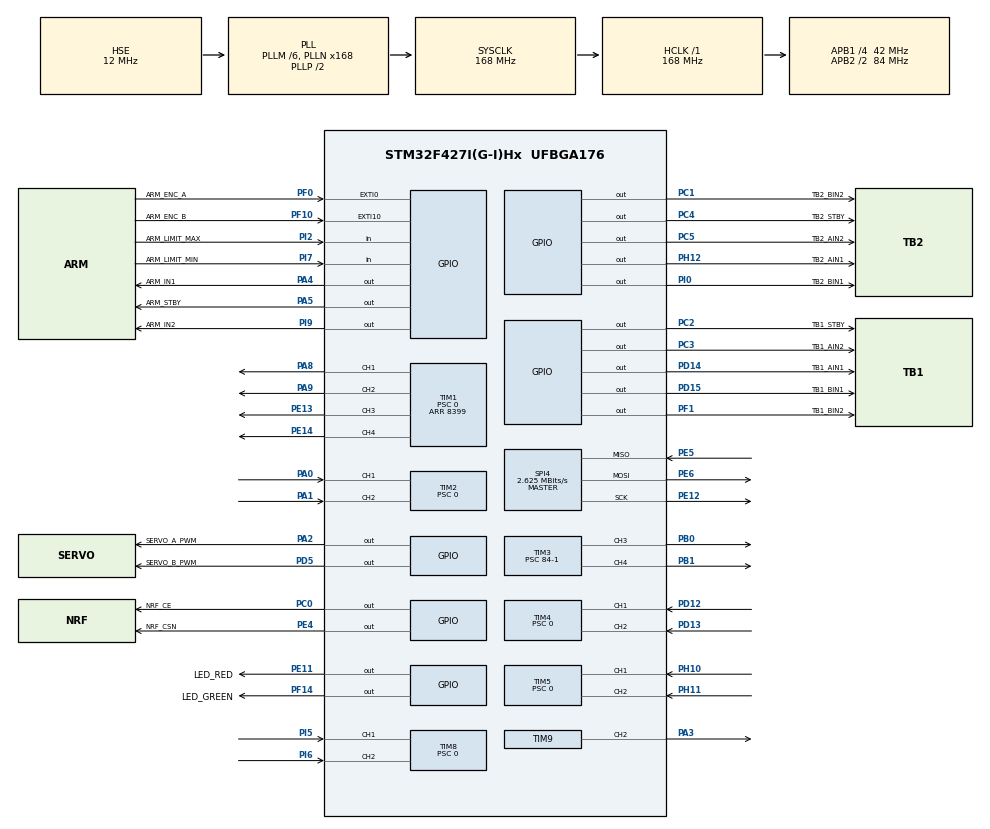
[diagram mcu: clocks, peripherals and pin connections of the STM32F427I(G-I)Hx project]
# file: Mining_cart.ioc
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FREERTOS.HEAP_NUMBER=4
FREERTOS.INCLUDE_eTaskGetState=0
FREERTOS.INCLUDE_pcTaskGetTaskName=0
FREERTOS.INCLUDE_uxTaskGetStackHighWaterMark=0
FREERTOS.INCLUDE_uxTaskGetStackHighWaterMark2=0
FREERTOS.INCLUDE_uxTaskPriorityGet=1
FREERTOS.INCLUDE_vTaskCleanUpResources=0
FREERTOS.INCLUDE_vTaskDelay=1
FREERTOS.INCLUDE_vTaskDelayUntil=1
FREERTOS.INCLUDE_vTaskDelete=1
FREERTOS.INCLUDE_vTaskPrioritySet=1
FREERTOS.INCLUDE_vTaskSuspend=1
FREERTOS.INCLUDE_xEventGroupSetBitFromISR=0
FREERTOS.INCLUDE_xQueueGetMutexHolder=0
FREERTOS.INCLUDE_xSemaphoreGetMutexHolder=0
FREERTOS.INCLUDE_xTaskAbortDelay=0
FREERTOS.INCLUDE_xTaskGetCurrentTaskHandle=0
FREERTOS.INCLUDE_xTaskGetHandle=0
FREERTOS.INCLUDE_xTaskResumeFromISR=1
FREERTOS.MEMORY_ALLOCATION=2
FREERTOS.Tasks01=StatusTask,0,256,StartStatusTask,Default,NULL,Dynamic,NULL,NULL;MotorTask,2,256,StartMotorTask,Default,NULL,Dynamic,NULL,NULL;ServoTask,0,256,StartServoTask,Default,NULL,Dynamic,NULL,NULL;ArmTask,1,512,StartArmTask,Default,NULL,Dynamic,NULL,NULL
FREERTOS.configCHECK_FOR_STACK_OVERFLOW=0
FREERTOS.configENABLE_BACKWARD_COMPATIBILITY=1
FREERTOS.configENABLE_FPU=0
FREERTOS.configGENERATE_RUN_TIME_STATS=0
FREERTOS.configIDLE_SHOULD_YIELD=1
FREERTOS.configLIBRARY_LOWEST_INTERRUPT_PRIORITY=15
FREERTOS.configLIBRARY_MAX_SYSCALL_INTERRUPT_PRIORITY=5
FREERTOS.configMAX_CO_ROUTINE_PRIORITIES=2
FREERTOS.configMAX_PRIORITIES=7
FREERTOS.configMAX_TASK_NAME_LEN=16
FREERTOS.configMINIMAL_STACK_SIZE=128
FREERTOS.configQUEUE_REGISTRY_SIZE=8
FREERTOS.configRECORD_STACK_HIGH_ADDRESS=0
FREERTOS.configTICK_RATE_HZ=1000
FREERTOS.configTOTAL_HEAP_SIZE=15360
FREERTOS.configUSE_APPLICATION_TASK_TAG=0
FREERTOS.configUSE_COUNTING_SEMAPHORES=0
FREERTOS.configUSE_CO_ROUTINES=0
FREERTOS.configUSE_DAEMON_TASK_STARTUP_HOOK=0
FREERTOS.configUSE_IDLE_HOOK=0
FREERTOS.configUSE_MALLOC_FAILED_HOOK=0
FREERTOS.configUSE_MUTEXES=1
FREERTOS.configUSE_NEWLIB_REENTRANT=0
FREERTOS.configUSE_POSIX_ERRNO=0
FREERTOS.configUSE_PREEMPTION=1
FREERTOS.configUSE_RECURSIVE_MUTEXES=0
FREERTOS.configUSE_STATS_FORMATTING_FUNCTIONS=0
FREERTOS.configUSE_TASK_NOTIFICATIONS=1
FREERTOS.configUSE_TICKLESS_IDLE=0
FREERTOS.configUSE_TICK_HOOK=0
FREERTOS.configUSE_TIMERS=0
FREERTOS.configUSE_TRACE_FACILITY=0
FREERTOS.copyHeapFile=1
Mcu.Family=STM32F4
Mcu.Name=STM32F427I(G-I)Hx
Mcu.Package=UFBGA176
NVIC.EXTI0_IRQn=true\:6\:0\:true\:false\:true\:true\:true\:true
NVIC.EXTI15_10_IRQn=true\:6\:0\:true\:false\:true\:true\:true\:true
NVIC.PriorityGroup=NVIC_PRIORITYGROUP_4
NVIC.TIM6_DAC_IRQn=true\:15\:0\:false\:false\:true\:false\:true\:true
NVIC.TIM7_IRQn=true\:0\:0\:false\:false\:true\:true\:true\:true
NVIC.TimeBase=TIM6_DAC_IRQn
NVIC.TimeBaseIP=TIM6
PA0/WKUP.Signal=S_TIM2_CH1_ETR
PA1.Signal=S_TIM2_CH2
PA13.Mode=Serial_Wire
PA13.Signal=SYS_JTMS-SWDIO
PA14.Mode=Serial_Wire
PA14.Signal=SYS_JTCK-SWCLK
PA2.GPIO_Label=SERVO_A_PWM
PA2.Signal=GPIO_Output
PA3.Signal=S_TIM9_CH2
PA4.GPIO_Label=ARM_IN1
PA4.Signal=GPIO_Output
PA5.GPIO_Label=ARM_STBY
PA5.GPIO_PuPd=GPIO_PULLDOWN
PA5.Signal=GPIO_Output
PA8.Signal=S_TIM1_CH1
PA9.Signal=S_TIM1_CH2
PB0.Signal=S_TIM3_CH3
PB1.Signal=S_TIM3_CH4
PC0.GPIO_Label=NRF_CE
PC0.GPIO_PuPd=GPIO_PULLDOWN
PC0.PinState=GPIO_PIN_RESET
PC0.Signal=GPIO_Output
PC1.GPIO_Label=TB2_BIN2
PC1.Signal=GPIO_Output
PC2.GPIO_Label=TB1_STBY
PC2.GPIO_PuPd=GPIO_PULLDOWN
PC2.Signal=GPIO_Output
PC3.GPIO_Label=TB1_AIN2
PC3.Signal=GPIO_Output
PC4.GPIO_Label=TB2_STBY
PC4.GPIO_PuPd=GPIO_PULLDOWN
PC4.Signal=GPIO_Output
PC5.GPIO_Label=TB2_AIN2
PC5.Signal=GPIO_Output
PD12.Signal=S_TIM4_CH1
PD13.Signal=S_TIM4_CH2
PD14.GPIO_Label=TB1_AIN1
PD14.Signal=GPIO_Output
PD15.GPIO_Label=TB1_BIN1
PD15.Signal=GPIO_Output
PD5.GPIO_Label=SERVO_B_PWM
PD5.Signal=GPIO_Output
PE11.GPIO_Label=LED_RED
PE11.PinState=GPIO_PIN_SET
PE11.Signal=GPIO_Output
PE12.Mode=Full_Duplex_Master
PE12.Signal=SPI4_SCK
PE13.Signal=S_TIM1_CH3
PE14.Signal=S_TIM1_CH4
PE4.GPIO_Label=NRF_CSN
PE4.GPIO_PuPd=GPIO_PULLUP
PE4.PinState=GPIO_PIN_SET
PE4.Signal=GPIO_Output
PE5.Mode=Full_Duplex_Master
PE5.Signal=SPI4_MISO
PE6.Mode=Full_Duplex_Master
PE6.Signal=SPI4_MOSI
PF0.GPIO_Label=ARM_ENC_A
PF0.GPIO_ModeDefaultEXTI=GPIO_MODE_IT_RISING_FALLING
PF0.GPIO_PuPd=GPIO_PULLUP
PF0.Signal=GPXTI0
PF1.GPIO_Label=TB1_BIN2
PF1.Signal=GPIO_Output
PF10.GPIO_Label=ARM_ENC_B
PF10.GPIO_ModeDefaultEXTI=GPIO_MODE_IT_RISING_FALLING
PF10.GPIO_PuPd=GPIO_PULLUP
PF10.Signal=GPXTI10
PF14.GPIO_Label=LED_GREEN
PF14.PinState=GPIO_PIN_SET
PF14.Signal=GPIO_Output
PH0/OSC_IN.Mode=HSE-External-Oscillator
PH0/OSC_IN.Signal=RCC_OSC_IN
PH1/OSC_OUT.Mode=HSE-External-Oscillator
PH1/OSC_OUT.Signal=RCC_OSC_OUT
PH10.Signal=S_TIM5_CH1
PH11.Signal=S_TIM5_CH2
PH12.GPIO_Label=TB2_AIN1
PH12.Signal=GPIO_Output
PI0.GPIO_Label=TB2_BIN1
PI0.Signal=GPIO_Output
PI2.GPIO_Label=ARM_LIMIT_MAX
PI2.GPIO_PuPd=GPIO_PULLUP
PI2.Signal=GPIO_Input
PI5.Signal=S_TIM8_CH1
PI6.Signal=S_TIM8_CH2
PI7.GPIO_Label=ARM_LIMIT_MIN
PI7.GPIO_PuPd=GPIO_PULLUP
PI7.Signal=GPIO_Input
PI9.GPIO_Label=ARM_IN2
PI9.Signal=GPIO_Output
ProjectManager.HeapSize=0x200
ProjectManager.StackSize=0x400
ProjectManager.TargetToolchain=CMake
RCC.48MHZClocksFreq_Value=84000000
RCC.AHBFreq_Value=168000000
RCC.APB1CLKDivider=RCC_HCLK_DIV4
RCC.APB1Freq_Value=42000000
RCC.APB1TimFreq_Value=84000000
RCC.APB2CLKDivider=RCC_HCLK_DIV2
RCC.APB2Freq_Value=84000000
RCC.APB2TimFreq_Value=168000000
RCC.CortexFreq_Value=168000000
RCC.FLatency=FLASH_LATENCY_5
RCC.HCLKFreq_Value=168000000
RCC.HSE_VALUE=12000000
RCC.HSI_VALUE=16000000
RCC.LSE_VALUE=32768
RCC.PLLM=6
RCC.PLLN=168
RCC.PLLSourceVirtual=RCC_PLLSOURCE_HSE
RCC.PWR_Regulator_Voltage_Scale=PWR_REGULATOR_VOLTAGE_SCALE1
RCC.SYSCLKFreq_VALUE=168000000
RCC.SYSCLKSource=RCC_SYSCLKSOURCE_PLLCLK
RCC.VCOOutputFreq_Value=336000000
SH.S_TIM1_CH1.0=TIM1_CH1,PWM Generation1 CH1
SH.S_TIM1_CH2.0=TIM1_CH2,PWM Generation2 CH2
SH.S_TIM1_CH3.0=TIM1_CH3,PWM Generation3 CH3
SH.S_TIM1_CH4.0=TIM1_CH4,PWM Generation4 CH4
SH.S_TIM2_CH1_ETR.0=TIM2_CH1,Encoder_Interface
SH.S_TIM2_CH2.0=TIM2_CH2,Encoder_Interface
SH.S_TIM3_CH3.0=TIM3_CH3,PWM Generation3 CH3
SH.S_TIM3_CH4.0=TIM3_CH4,PWM Generation4 CH4
SH.S_TIM4_CH1.0=TIM4_CH1,Encoder_Interface
SH.S_TIM4_CH2.0=TIM4_CH2,Encoder_Interface
SH.S_TIM5_CH1.0=TIM5_CH1,Encoder_Interface
SH.S_TIM5_CH2.0=TIM5_CH2,Encoder_Interface
SH.S_TIM8_CH1.0=TIM8_CH1,Encoder_Interface
SH.S_TIM8_CH2.0=TIM8_CH2,Encoder_Interface
SH.S_TIM9_CH2.0=TIM9_CH2,PWM Generation2 CH2
SPI4.BaudRatePrescaler=SPI_BAUDRATEPRESCALER_32
SPI4.CalculateBaudRate=2.625 MBits/s
SPI4.Direction=SPI_DIRECTION_2LINES
SPI4.Mode=SPI_MODE_MASTER
SPI4.VirtualType=VM_MASTER
TIM1.AutoReloadPreload=TIM_AUTORELOAD_PRELOAD_DISABLE
TIM1.AutomaticOutput=TIM_AUTOMATICOUTPUT_DISABLE
TIM1.BreakPolarity=TIM_BREAKPOLARITY_HIGH
TIM1.BreakState=TIM_BREAK_DISABLE
TIM1.Channel-PWM\ Generation1\ CH1=TIM_CHANNEL_1
TIM1.Channel-PWM\ Generation2\ CH2=TIM_CHANNEL_2
TIM1.Channel-PWM\ Generation3\ CH3=TIM_CHANNEL_3
TIM1.Channel-PWM\ Generation4\ CH4=TIM_CHANNEL_4
TIM1.ClockDivision=TIM_CLOCKDIVISION_DIV1
TIM1.CounterMode=TIM_COUNTERMODE_UP
TIM1.LockLevel=TIM_LOCKLEVEL_OFF
TIM1.OC1Preload_PWM=ENABLE
TIM1.OC2Preload_PWM=ENABLE
TIM1.OC3Preload_PWM=ENABLE
TIM1.OC4Preload_PWM=ENABLE
TIM1.OCFastMode_PWM-PWM\ Generation1\ CH1=TIM_OCFAST_DISABLE
TIM1.OCFastMode_PWM-PWM\ Generation2\ CH2=TIM_OCFAST_DISABLE
TIM1.OCFastMode_PWM-PWM\ Generation3\ CH3=TIM_OCFAST_DISABLE
TIM1.OCFastMode_PWM-PWM\ Generation4\ CH4=TIM_OCFAST_DISABLE
TIM1.OCIdleState_1=TIM_OCIDLESTATE_RESET
TIM1.OCIdleState_2=TIM_OCIDLESTATE_RESET
TIM1.OCIdleState_3=TIM_OCIDLESTATE_RESET
TIM1.OCIdleState_4=TIM_OCIDLESTATE_RESET
TIM1.OCMode_PWM-PWM\ Generation1\ CH1=TIM_OCMODE_PWM1
TIM1.OCMode_PWM-PWM\ Generation2\ CH2=TIM_OCMODE_PWM1
TIM1.OCMode_PWM-PWM\ Generation3\ CH3=TIM_OCMODE_PWM1
TIM1.OCMode_PWM-PWM\ Generation4\ CH4=TIM_OCMODE_PWM1
TIM1.OCPolarity_1=TIM_OCPOLARITY_HIGH
TIM1.OCPolarity_2=TIM_OCPOLARITY_HIGH
TIM1.OCPolarity_3=TIM_OCPOLARITY_HIGH
TIM1.OCPolarity_4=TIM_OCPOLARITY_HIGH
TIM1.OffStateIDLEMode=TIM_OSSI_DISABLE
TIM1.OffStateRunMode=TIM_OSSR_DISABLE
TIM1.Period=8399
TIM1.Prescaler=0
TIM1.Pulse-PWM\ Generation1\ CH1=0
TIM1.Pulse-PWM\ Generation2\ CH2=0
TIM1.Pulse-PWM\ Generation3\ CH3=0
TIM1.Pulse-PWM\ Generation4\ CH4=0
TIM1.RepetitionCounter=0
TIM1.TIM_MasterOutputTrigger=TIM_TRGO_RESET
TIM1.TIM_MasterSlaveMode=TIM_MASTERSLAVEMODE_DISABLE
TIM2.AutoReloadPreload=TIM_AUTORELOAD_PRELOAD_DISABLE
TIM2.ClockDivision=TIM_CLOCKDIVISION_DIV1
TIM2.CounterMode=TIM_COUNTERMODE_UP
TIM2.EncoderMode=TIM_ENCODERMODE_TI12
TIM2.IC1Filter=4
TIM2.IC1Polarity=TIM_ICPOLARITY_RISING
TIM2.IC1Prescaler=TIM_ICPSC_DIV1
TIM2.IC1Selection=TIM_ICSELECTION_DIRECTTI
TIM2.IC2Filter=4
TIM2.IC2Polarity=TIM_ICPOLARITY_RISING
TIM2.IC2Prescaler=TIM_ICPSC_DIV1
TIM2.IC2Selection=TIM_ICSELECTION_DIRECTTI
TIM2.Period=65535
TIM2.Prescaler=0
TIM2.TIM_MasterOutputTrigger=TIM_TRGO_RESET
TIM2.TIM_MasterSlaveMode=TIM_MASTERSLAVEMODE_DISABLE
TIM3.AutoReloadPreload=TIM_AUTORELOAD_PRELOAD_ENABLE
TIM3.Channel-PWM\ Generation3\ CH3=TIM_CHANNEL_3
TIM3.Channel-PWM\ Generation4\ CH4=TIM_CHANNEL_4
TIM3.ClockDivision=TIM_CLOCKDIVISION_DIV1
TIM3.CounterMode=TIM_COUNTERMODE_UP
TIM3.OC3Preload_PWM=ENABLE
TIM3.OC4Preload_PWM=ENABLE
TIM3.OCFastMode_PWM-PWM\ Generation3\ CH3=TIM_OCFAST_DISABLE
TIM3.OCFastMode_PWM-PWM\ Generation4\ CH4=TIM_OCFAST_DISABLE
TIM3.OCMode_PWM-PWM\ Generation3\ CH3=TIM_OCMODE_PWM1
TIM3.OCMode_PWM-PWM\ Generation4\ CH4=TIM_OCMODE_PWM1
TIM3.OCPolarity_3=TIM_OCPOLARITY_HIGH
TIM3.OCPolarity_4=TIM_OCPOLARITY_HIGH
TIM3.Period=20000-1
TIM3.Prescaler=84-1
TIM3.Pulse-PWM\ Generation3\ CH3=0
TIM3.Pulse-PWM\ Generation4\ CH4=0
TIM3.TIM_MasterOutputTrigger=TIM_TRGO_RESET
TIM3.TIM_MasterSlaveMode=TIM_MASTERSLAVEMODE_DISABLE
TIM4.AutoReloadPreload=TIM_AUTORELOAD_PRELOAD_DISABLE
TIM4.ClockDivision=TIM_CLOCKDIVISION_DIV1
TIM4.CounterMode=TIM_COUNTERMODE_UP
TIM4.EncoderMode=TIM_ENCODERMODE_TI12
TIM4.IC1Filter=4
TIM4.IC1Polarity=TIM_ICPOLARITY_RISING
TIM4.IC1Prescaler=TIM_ICPSC_DIV1
TIM4.IC1Selection=TIM_ICSELECTION_DIRECTTI
TIM4.IC2Filter=4
TIM4.IC2Polarity=TIM_ICPOLARITY_RISING
TIM4.IC2Prescaler=TIM_ICPSC_DIV1
TIM4.IC2Selection=TIM_ICSELECTION_DIRECTTI
TIM4.Period=65535
TIM4.Prescaler=0
TIM4.TIM_MasterOutputTrigger=TIM_TRGO_RESET
TIM4.TIM_MasterSlaveMode=TIM_MASTERSLAVEMODE_DISABLE
TIM5.AutoReloadPreload=TIM_AUTORELOAD_PRELOAD_DISABLE
TIM5.ClockDivision=TIM_CLOCKDIVISION_DIV1
TIM5.CounterMode=TIM_COUNTERMODE_UP
TIM5.EncoderMode=TIM_ENCODERMODE_TI12
TIM5.IC1Filter=4
TIM5.IC1Polarity=TIM_ICPOLARITY_RISING
TIM5.IC1Prescaler=TIM_ICPSC_DIV1
TIM5.IC1Selection=TIM_ICSELECTION_DIRECTTI
TIM5.IC2Filter=4
TIM5.IC2Polarity=TIM_ICPOLARITY_RISING
TIM5.IC2Prescaler=TIM_ICPSC_DIV1
TIM5.IC2Selection=TIM_ICSELECTION_DIRECTTI
TIM5.Period=65535
TIM5.Prescaler=0
TIM5.TIM_MasterOutputTrigger=TIM_TRGO_RESET
TIM5.TIM_MasterSlaveMode=TIM_MASTERSLAVEMODE_DISABLE
TIM7.Period=20000-1
TIM7.Prescaler=84-1
TIM8.AutoReloadPreload=TIM_AUTORELOAD_PRELOAD_DISABLE
TIM8.ClockDivision=TIM_CLOCKDIVISION_DIV1
TIM8.CounterMode=TIM_COUNTERMODE_UP
TIM8.EncoderMode=TIM_ENCODERMODE_TI12
TIM8.IC1Filter=4
TIM8.IC1Polarity=TIM_ICPOLARITY_RISING
TIM8.IC1Prescaler=TIM_ICPSC_DIV1
TIM8.IC1Selection=TIM_ICSELECTION_DIRECTTI
TIM8.IC2Filter=4
TIM8.IC2Polarity=TIM_ICPOLARITY_RISING
TIM8.IC2Prescaler=TIM_ICPSC_DIV1
TIM8.IC2Selection=TIM_ICSELECTION_DIRECTTI
TIM8.Period=65535
TIM8.Prescaler=0
TIM8.RepetitionCounter=0
TIM8.TIM_MasterOutputTrigger=TIM_TRGO_RESET
TIM8.TIM_MasterSlaveMode=TIM_MASTERSLAVEMODE_DISABLE
TIM9.AutoReloadPreload=TIM_AUTORELOAD_PRELOAD_DISABLE
TIM9.Channel-PWM\ Generation2\ CH2=TIM_CHANNEL_2
TIM9.ClockDivision=TIM_CLOCKDIVISION_DIV1
TIM9.CounterMode=TIM_COUNTERMODE_UP
TIM9.OC2Preload_PWM=ENABLE
TIM9.OCFastMode_PWM-PWM\ Generation2\ CH2=TIM_OCFAST_DISABLE
TIM9.OCMode_PWM-PWM\ Generation2\ CH2=TIM_OCMODE_PWM1
TIM9.OCPolarity_2=TIM_OCPOLARITY_HIGH
TIM9.Period=8400-1
TIM9.Prescaler=0
TIM9.Pulse-PWM\ Generation2\ CH2=0
VP_FREERTOS_VS_CMSIS_V1.Mode=CMSIS_V1
VP_SYS_VS_tim6.Mode=TIM6
VP_TIM1_VS_ClockSourceINT.Mode=Internal
VP_TIM3_VS_ClockSourceINT.Mode=Internal
VP_TIM7_VS_ClockSourceINT.Mode=Enable_Timer
board=custom

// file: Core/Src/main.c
/* USER CODE BEGIN Header */
/**
  ******************************************************************************
  * @file           : main.c
  * @brief          : Main program body
  ******************************************************************************
  * @attention
  *
  * Copyright (c) 2026 STMicroelectronics.
  * All rights reserved.
  *
  * This software is licensed under terms that can be found in the LICENSE file
  * in the root directory of this software component.
  * If no LICENSE file comes with this software, it is provided AS-IS.
  *
  ******************************************************************************
  */
/* USER CODE END Header */
#include "main.h"
#include "cmsis_os.h"
#include "spi.h"
#include "tim.h"
#include "gpio.h"

/* USER CODE BEGIN Includes */
#include "SEGGER_RTT.h"
#include "nrf24.h"
#include "arm_control.h"
#include "servo_soft_pwm.h"
/* USER CODE END Includes */

void SystemClock_Config(void);
void MX_FREERTOS_Init(void);

int main(void)
{

  /* MCU Configuration--------------------------------------------------------*/

  /* Reset of all peripherals, Initializes the Flash interface and the Systick. */
  HAL_Init();

  /* Configure the system clock */
  SystemClock_Config();

  /* Initialize all configured peripherals */
  MX_GPIO_Init();
  MX_TIM1_Init();
  MX_TIM2_Init();
  MX_TIM3_Init();
  MX_TIM9_Init();
  MX_TIM4_Init();
  MX_TIM5_Init();
  MX_TIM8_Init();
  MX_SPI4_Init();
  MX_TIM7_Init();
  /* USER CODE BEGIN 2 */
  SEGGER_RTT_Init();
  SEGGER_RTT_SetFlagsUpBuffer(0, SEGGER_RTT_MODE_NO_BLOCK_SKIP);
  SEGGER_RTT_WriteString(0, "Mining_cart boot OK\r\n");
  HAL_StatusTypeDef nrf_status = NRF24_Init();
  SEGGER_RTT_printf(0, "NRF probe=%u present=%u\r\n",
                 (unsigned)nrf_status,
                 (unsigned)g_nrf24_debug.present);
  /* USER CODE END 2 */

  /* Call init function for freertos objects (in cmsis_os2.c) */
  MX_FREERTOS_Init();

  /* Start scheduler */
  osKernelStart();

  /* We should never get here as control is now taken by the scheduler */

  /* Infinite loop */
  while (1)
  {

  }
}

void SystemClock_Config(void)
{
  RCC_OscInitTypeDef RCC_OscInitStruct = {0};
  RCC_ClkInitTypeDef RCC_ClkInitStruct = {0};

  /** Configure the main internal regulator output voltage
  */
  __HAL_RCC_PWR_CLK_ENABLE();
  __HAL_PWR_VOLTAGESCALING_CONFIG(PWR_REGULATOR_VOLTAGE_SCALE1);

  /** Initializes the RCC Oscillators according to the specified parameters
  * in the RCC_OscInitTypeDef structure.
  */
  RCC_OscInitStruct.OscillatorType = RCC_OSCILLATORTYPE_HSE;
  RCC_OscInitStruct.HSEState = RCC_HSE_ON;
  RCC_OscInitStruct.PLL.PLLState = RCC_PLL_ON;
  RCC_OscInitStruct.PLL.PLLSource = RCC_PLLSOURCE_HSE;
  RCC_OscInitStruct.PLL.PLLM = 6;
  RCC_OscInitStruct.PLL.PLLN = 168;
  RCC_OscInitStruct.PLL.PLLP = RCC_PLLP_DIV2;
  RCC_OscInitStruct.PLL.PLLQ = 4;
  if (HAL_RCC_OscConfig(&RCC_OscInitStruct) != HAL_OK)
  {
    Error_Handler();
  }

  /** Initializes the CPU, AHB and APB buses clocks
  */
  RCC_ClkInitStruct.ClockType = RCC_CLOCKTYPE_HCLK|RCC_CLOCKTYPE_SYSCLK
                              |RCC_CLOCKTYPE_PCLK1|RCC_CLOCKTYPE_PCLK2;
  RCC_ClkInitStruct.SYSCLKSource = RCC_SYSCLKSOURCE_PLLCLK;
  RCC_ClkInitStruct.AHBCLKDivider = RCC_SYSCLK_DIV1;
  RCC_ClkInitStruct.APB1CLKDivider = RCC_HCLK_DIV4;
  RCC_ClkInitStruct.APB2CLKDivider = RCC_HCLK_DIV2;

  if (HAL_RCC_ClockConfig(&RCC_ClkInitStruct, FLASH_LATENCY_5) != HAL_OK)
  {
    Error_Handler();
  }
}

/* USER CODE BEGIN 4 */
void HAL_GPIO_EXTI_Callback(uint16_t GPIO_Pin)
{
  if (GPIO_Pin == ARM_ENC_A_Pin || GPIO_Pin == ARM_ENC_B_Pin) {
    Arm_EncoderIRQ();
  }
}
/* USER CODE END 4 */

void HAL_TIM_PeriodElapsedCallback(TIM_HandleTypeDef *htim)
{
  if (htim->Instance == TIM6)
  {
    HAL_IncTick();
  }
  /* USER CODE BEGIN Callback 1 */
    if (htim->Instance == TIM7)
    {
      ServoSoftPwm_OnTimerElapsed();
    }
  /* USER CODE END Callback 1 */
}

void Error_Handler(void)
{
  __disable_irq();
  while (1)
  {
  }
}

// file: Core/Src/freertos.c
/* USER CODE BEGIN Header */
/**
  ******************************************************************************
  * File Name          : freertos.c
  * Description        : Code for freertos applications
  ******************************************************************************
  * @attention
  *
  * Copyright (c) 2026 STMicroelectronics.
  * All rights reserved.
  *
  * This software is licensed under terms that can be found in the LICENSE file
  * in the root directory of this software component.
  * If no LICENSE file comes with this software, it is provided AS-IS.
  *
  ******************************************************************************
  */
/* USER CODE END Header */

#include "FreeRTOS.h"
#include "task.h"
#include "main.h"
#include "cmsis_os.h"

/* USER CODE BEGIN Includes */
#include "SEGGER_RTT.h"
#include "motor_control.h"
#include "servo.h"
#include "arm_control.h"
#include "wireless.h"
/* USER CODE END Includes */

osThreadId StatusTaskHandle;
osThreadId MotorTaskHandle;
osThreadId ServoTaskHandle;
osThreadId ArmTaskHandle;

/* USER CODE BEGIN FunctionPrototypes */
static void StartWirelessTask(void const *argument);

/* USER CODE END FunctionPrototypes */

void StartStatusTask(void const * argument);
void StartMotorTask(void const * argument);
void StartServoTask(void const * argument);
void StartArmTask(void const * argument);

void MX_FREERTOS_Init(void); /* (MISRA C 2004 rule 8.1) */

/* GetIdleTaskMemory prototype (linked to static allocation support) */
void vApplicationGetIdleTaskMemory( StaticTask_t **ppxIdleTaskTCBBuffer, StackType_t **ppxIdleTaskStackBuffer, uint32_t *pulIdleTaskStackSize );

/* USER CODE BEGIN GET_IDLE_TASK_MEMORY */
static StaticTask_t xIdleTaskTCBBuffer;
static StackType_t xIdleStack[configMINIMAL_STACK_SIZE];

void vApplicationGetIdleTaskMemory( StaticTask_t **ppxIdleTaskTCBBuffer, StackType_t **ppxIdleTaskStackBuffer, uint32_t *pulIdleTaskStackSize )
{
  *ppxIdleTaskTCBBuffer = &xIdleTaskTCBBuffer;
  *ppxIdleTaskStackBuffer = &xIdleStack[0];
  *pulIdleTaskStackSize = configMINIMAL_STACK_SIZE;
  /* place for user code */
}
/* USER CODE END GET_IDLE_TASK_MEMORY */

void MX_FREERTOS_Init(void) {

  /* Create the thread(s) */
  /* definition and creation of StatusTask */
  osThreadDef(StatusTask, StartStatusTask, osPriorityNormal, 0, 256);
  StatusTaskHandle = osThreadCreate(osThread(StatusTask), NULL);

  /* definition and creation of MotorTask */
  osThreadDef(MotorTask, StartMotorTask, osPriorityHigh, 0, 512);
  MotorTaskHandle = osThreadCreate(osThread(MotorTask), NULL);

  /* definition and creation of ServoTask */
  osThreadDef(ServoTask, StartServoTask, osPriorityNormal, 0, 256);
  ServoTaskHandle = osThreadCreate(osThread(ServoTask), NULL);

  /* definition and creation of ArmTask */
  osThreadDef(ArmTask, StartArmTask, osPriorityAboveNormal, 0, 512);
  ArmTaskHandle = osThreadCreate(osThread(ArmTask), NULL);

  /* USER CODE BEGIN RTOS_THREADS */
  osThreadDef(WirelessTask, StartWirelessTask, osPriorityAboveNormal, 0, 512);
  if (osThreadCreate(osThread(WirelessTask), NULL) == NULL) Error_Handler();
  /* add threads, ... */
  /* USER CODE END RTOS_THREADS */

}

void StartStatusTask(void const * argument)
{
  /* USER CODE BEGIN StartStatusTask */
  /* Infinite loop */
  (void)argument;
  uint32_t loop_count = 0;

  for (;;) {
    HAL_GPIO_WritePin(LED_RED_GPIO_Port, LED_RED_Pin, GPIO_PIN_SET);
    HAL_GPIO_WritePin(LED_GREEN_GPIO_Port, LED_GREEN_Pin, GPIO_PIN_RESET);
    osDelay(500);

    HAL_GPIO_WritePin(LED_GREEN_GPIO_Port, LED_GREEN_Pin, GPIO_PIN_SET);
    HAL_GPIO_WritePin(LED_RED_GPIO_Port, LED_RED_Pin, GPIO_PIN_RESET);
    osDelay(500);

    loop_count++;
    SEGGER_RTT_printf(0, "alive=%u tick=%u ms\r\n",
                      (unsigned)loop_count, (unsigned)HAL_GetTick());
  }
  /* USER CODE END StartStatusTask */
}

void StartMotorTask(void const * argument)
{
  /* USER CODE BEGIN StartMotorTask */
  /* Infinite loop */
  (void)argument;
  MotorControl_Task();
  /* USER CODE END StartMotorTask */
}

void StartServoTask(void const * argument)
{
  /* USER CODE BEGIN StartServoTask */
  /* Infinite loop */
  (void)argument;
  Servo_Task();
  /* USER CODE END StartServoTask */
}

void StartArmTask(void const * argument)
{
  /* USER CODE BEGIN StartArmTask */
  /* Infinite loop */
  (void)argument;
  ArmControl_Task();
  /* USER CODE END StartArmTask */
}

/* USER CODE BEGIN Application */
static void StartWirelessTask(void const *argument)
{
    (void)argument;
    Wireless_Task();
}

/* USER CODE END Application */
